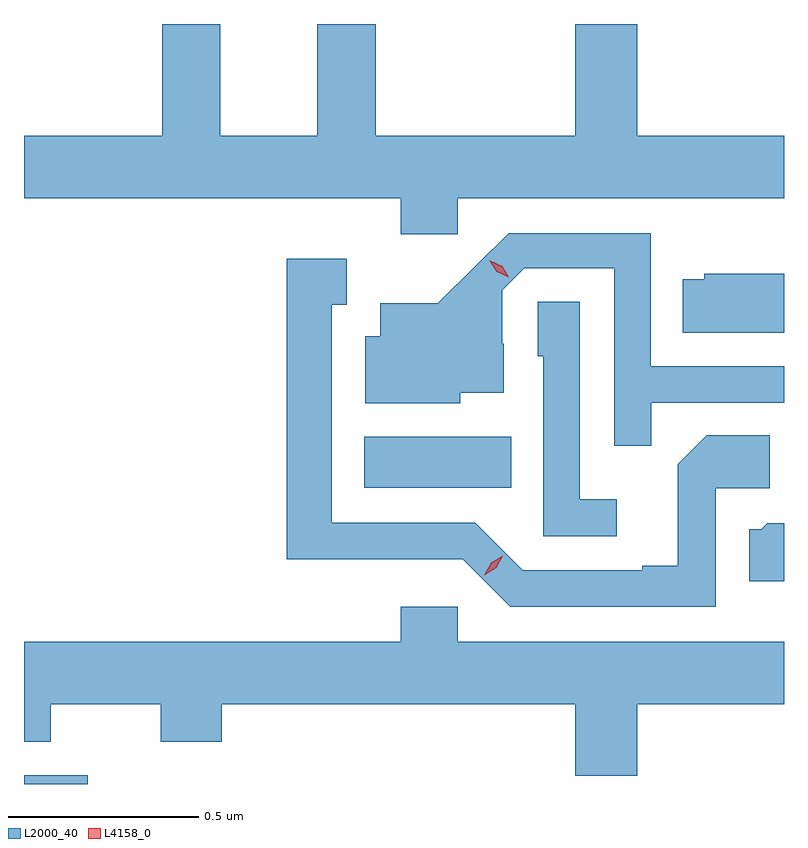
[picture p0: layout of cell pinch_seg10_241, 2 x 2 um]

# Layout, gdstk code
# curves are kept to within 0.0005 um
import gdstk
lib = gdstk.Library(unit=1e-6, precision=1e-09)
def R(c, l, rs):  # rectangles x0, y0, x1, y1
    for r in rs: c.add(gdstk.rectangle(r[:2], r[2:], *l))
def P(c, l, *ps):  # polygons
    for p in ps: c.add(gdstk.Polygon(p, *l))
L2000_40 = (2000, 40)
L4158_0 = (4158, 0)

pinch_seg10_241 = lib.new_cell('pinch_seg10_241')
R(pinch_seg10_241, L2000_40, [(619.102,1309.43,619.27,1309.453), (619.997,1310.21,620.384,1310.344)])
P(pinch_seg10_241, L2000_40, [(620.244,1310.972),(621.102,1310.972),(621.102,1311.136),(620.716,1311.136),(620.716,1311.43),(620.552,1311.43),(620.552,1311.136),(620.027,1311.136),(620.027,1311.43),(619.874,1311.43),(619.874,1311.136),(619.618,1311.136),(619.618,1311.43),(619.466,1311.43),(619.466,1311.136),(619.102,1311.136),(619.102,1310.972),(620.093,1310.972),(620.093,1310.877),(620.244,1310.877)],
  [(620.753,1310.433),(621.102,1310.433),(621.102,1310.529),(620.751,1310.529),(620.751,1310.88),(620.378,1310.88),(620.191,1310.695),(620.039,1310.695),(620.039,1310.608),(620,1310.608),(620,1310.432),(620.25,1310.432),(620.25,1310.459),(620.365,1310.459),(620.365,1310.588),(620.361,1310.588),(620.361,1310.73),(620.418,1310.787),(620.655,1310.787),(620.655,1310.32),(620.753,1310.32)],
  [(620.922,1310.208),(621.064,1310.208),(621.064,1310.348),(620.899,1310.348),(620.823,1310.272),(620.823,1310.005),(620.729,1310.005),(620.729,1309.992),(620.415,1309.992),(620.289,1310.118),(619.912,1310.118),(619.912,1310.691),(619.951,1310.691),(619.951,1310.812),(619.794,1310.812),(619.794,1310.021),(620.034,1310.021),(620.034,1310.022),(620.256,1310.022),(620.382,1309.896),(620.922,1309.896)],
  [(621.102,1310.773),(620.892,1310.773),(620.892,1310.758),(620.836,1310.758),(620.836,1310.618),(621.102,1310.618)],
  [(620.662,1310.179),(620.565,1310.179),(620.565,1310.699),(620.454,1310.699),(620.454,1310.556),(620.469,1310.556),(620.469,1310.082),(620.662,1310.082)],
  [(621.102,1310.116),(621.058,1310.116),(621.042,1310.1),(621.011,1310.1),(621.011,1309.964),(621.102,1309.964)],
  [(620.716,1309.64),(621.102,1309.64),(621.102,1309.804),(620.244,1309.804),(620.244,1309.897),(620.093,1309.897),(620.093,1309.804),(619.102,1309.804),(619.102,1309.541),(619.173,1309.541),(619.173,1309.64),(619.462,1309.64),(619.462,1309.541),(619.622,1309.541),(619.622,1309.64),(620.552,1309.64),(620.552,1309.452),(620.716,1309.452)])
P(pinch_seg10_241, L4158_0, [(620.377,1310.763),(620.346,1310.778),(620.328,1310.807),(620.328,1310.807),(620.329,1310.807),(620.36,1310.792),(620.378,1310.763),(620.378,1310.763)],
  [(620.313,1309.98),(620.313,1309.98),(620.331,1310.012),(620.362,1310.031),(620.362,1310.031),(620.362,1310.031),(620.345,1309.999),(620.313,1309.98)])

lib.write_gds('pinch_seg10_241.gds')
